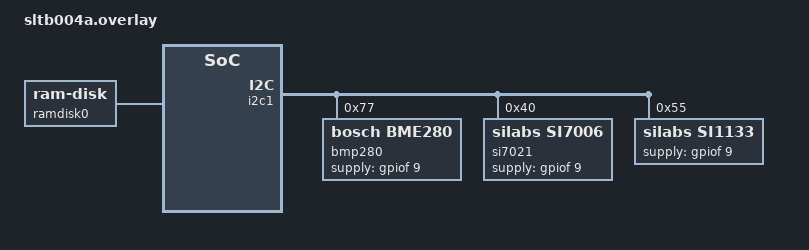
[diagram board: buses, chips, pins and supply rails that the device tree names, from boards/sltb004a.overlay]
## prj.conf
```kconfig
CONFIG_SHELL=y
CONFIG_SHELL_BACKEND_SERIAL=y
CONFIG_UART_CONSOLE=y

# Task 1
CONFIG_COUNTER=y
CONFIG_COUNTER_GECKO_RTCC=y

# Task 2
CONFIG_SENSOR=y
CONFIG_RING_BUFFER=y

CONFIG_I2C=y
CONFIG_I2C_GECKO=y
CONFIG_GPIO=y
CONFIG_PRINTK=y
CONFIG_CONSOLE=y

CONFIG_SENSOR_ASYNC_API=y
CONFIG_JSON_LIBRARY=y

CONFIG_HEAP_MEM_POOL_SIZE=1024
CONFIG_SI1133=y

CONFIG_DISK_ACCESS=y
CONFIG_DISK_DRIVERS=y

CONFIG_LOG=y
CONFIG_LOG_MODE_MINIMAL=y

CONFIG_FILE_SYSTEM=y
CONFIG_FILE_SYSTEM_MKFS=y
CONFIG_FAT_FILESYSTEM_ELM=y
```

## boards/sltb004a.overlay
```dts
/ {
    ramdisk0 {
        compatible = "zephyr,ram-disk";
        disk-name = "RAM";
        sector-size = <512>;
        sector-count = <64>;
        label = "ramdisk0";
        status = "okay";
    };
};


&pinctrl {
        i2c_env_default: i2c_env_default {
        group1 {
            psels = <GECKO_PSEL(I2C_SDA, C, 4)>,
                <GECKO_PSEL(I2C_SCL, C, 5)>,
                <GECKO_LOC(I2C_SDA, 17)>,
                <GECKO_LOC(I2C_SCL, 17)>;
        };
    };
};

&i2c1 {
    pinctrl-0 = <&i2c_env_default>;
    pinctrl-names = "default";
    status = "okay";

    bmp280: bmp280@77 {
        status = "okay";
        compatible = "bosch,bme280";
        reg = <0x77>;
        supply-gpios = <&gpiof 9 GPIO_ACTIVE_HIGH>;
    };

    si7021: si7021@40 {
        compatible = "silabs,si7006";
        reg = <0x40>;
        status = "okay";
        supply-gpios = <&gpiof 9 GPIO_ACTIVE_HIGH>;
    };

    si1133: si1133@55 {
        compatible = "silabs,si1133";
        reg = <0x55>;
        status = "okay";
        supply-gpios = <&gpiof 9 GPIO_ACTIVE_HIGH>;
    };

};
```

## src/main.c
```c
#include <zephyr/kernel.h>
#include <stdlib.h>
#include "sltb_sensors.h"
#include "rtc.h"
#include "sample.h"
#include "thunderboard_button.h"

int main(void) {
    thunderboard_button_init();
    
    printk("Button initialized successfully\n");

    rtc_init();
    printk("RTC initialized successfully\n");
    
    sltb_sensor_init();
    printk("Sensors initialized successfully\n");

    sample_init();
    printk("Sample module initialized successfully\n");

    return 0;
}
```

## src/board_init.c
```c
#include <zephyr/init.h>
#include <zephyr/drivers/gpio.h>
#include <zephyr/sys/printk.h>

struct supply_cfg {
    const struct device *gpio;
    gpio_pin_t pin;
    gpio_dt_flags_t flags;
};

static int enable_supply(const struct supply_cfg *cfg)
{
    int rv = -ENODEV;

    if (device_is_ready(cfg->gpio)) {
        gpio_pin_configure(cfg->gpio, cfg->pin,
                   GPIO_OUTPUT | cfg->flags);
        gpio_pin_set(cfg->gpio, cfg->pin, 1);
        rv = 0;
    }

    return rv;
}

static int efr32mg_sltb004a_init(void)
{
    struct supply_cfg cfg;
    int rc = 0;

    (void)cfg;

#define BMP280 DT_NODELABEL(bmp280)
#if DT_NODE_HAS_STATUS_OKAY(BMP280)
    cfg = (struct supply_cfg){
        .gpio = DEVICE_DT_GET(DT_GPIO_CTLR(BMP280, supply_gpios)),
        .pin = DT_GPIO_PIN(BMP280, supply_gpios),
        .flags = DT_GPIO_FLAGS(BMP280, supply_gpios),
    };

    /* Enable the ENV_I2C power domain */
    rc = enable_supply(&cfg);
    if (rc < 0) {
        printk("BMP280 supply not enabled: %d\n", rc);
    }
#endif

    return rc;
}

/* needs to be done after GPIO driver init */
SYS_INIT(efr32mg_sltb004a_init, POST_KERNEL,
     CONFIG_KERNEL_INIT_PRIORITY_DEVICE);
```
